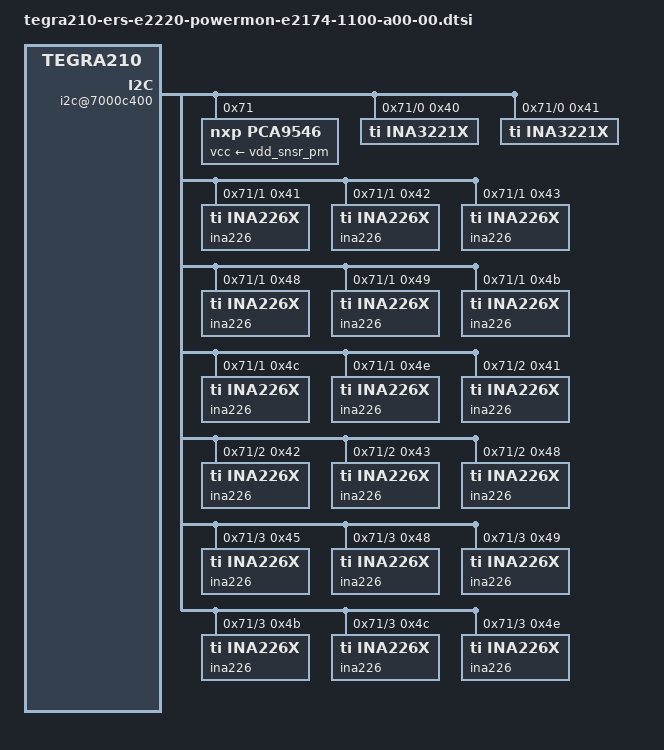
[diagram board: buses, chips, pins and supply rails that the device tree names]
/*
 * Copyright (c) 2014, NVIDIA CORPORATION.  All rights reserved.
 *
 * This program is free software; you can redistribute it and/or modify
 * it under the terms of the GNU General Public License as published by
 * the Free Software Foundation; either version 2 of the License, or
 * (at your option) any later version.
 *
 * This program is distributed in the hope that it will be useful, but WITHOUT
 * ANY WARRANTY; without even the implied warranty of MERCHANTABILITY or
 * FITNESS FOR A PARTICULAR PURPOSE.  See the GNU General Public License for
 * more details.
 *
 * You should have received a copy of the GNU General Public License along
 * with this program; if not, write to the Free Software Foundation, Inc.,
 * 51 Franklin Street, Fifth Floor, Boston, MA  02110-1301, USA.
 */
/ {
	i2c@7000c400 {
		pca9546@71 {
			compatible = "nxp,pca9546";
			reg = <0x71>;
			#address-cells = <1>;
			#size-cells = <0>;
			vcc-supply = <&vdd_snsr_pm>;
			i2c@0 {
				reg = <0>;
				i2c-mux,deselect-on-exit;
				#address-cells = <1>;
				#size-cells = <0>;
				ina3221x@40 {
					compatible = "ti,ina3221x";
					reg = <0x40>;
					ti,trigger-config = <0x7003>;
					ti,continuous-config = <0x7c07>;
					#address-cells = <1>;
					#size-cells = <0>;
					channel@0 {
						reg = <0x0>;
						ti,rail-name = "VDD_BAT";
						ti,shunt-resistor-mohm = <5>;
					};

					channel@1 {
						reg = <0x1>;
						ti,rail-name = "VDD_5V0";
						ti,shunt-resistor-mohm = <20>;
					};

					channel@2 {
						reg = <0x2>;
						ti,rail-name = "VDD_SYS_MDM";
						ti,shunt-resistor-mohm = <1>;
					};
				};

				ina3221x@41 {
					compatible = "ti,ina3221x";
					reg = <0x41>;
					ti,trigger-config = <0x7003>;
					ti,continuous-config = <0x7c07>;
					#address-cells = <1>;
					#size-cells = <0>;
					channel@0 {
						reg = <0x0>;
						ti,rail-name = "VDD_GPU";
						ti,shunt-resistor-mohm = <1>;
					};

					channel@1 {
						reg = <0x1>;
						ti,rail-name = "VDD_SOC";
						ti,shunt-resistor-mohm = <1>;
					};

					channel@2 {
						reg = <0x2>;
						ti,rail-name = "VDD_CPU";
						ti,shunt-resistor-mohm = <1>;
					};
				};
			};

			i2c@1 {
				reg = <1>;
				i2c-mux,deselect-on-exit;
				#address-cells = <1>;
				#size-cells = <0>;

				ina226@41 {
					compatible = "ti,ina226x";
					reg = <0x41>;
					ti,rail-name = "VDD_BAT_CHG";
					ti,continuous-config = <0x0407>;
					ti,trigger-config = <0x0403>;
					ti,resistor = <5>;
					ti,calibration-data = <0x0BEA>;
					ti,power-lsb = <8393>;
					ti,divisor = <25>;
					ti,precision-multiplier = <1000>;
				};
				ina226@42 {
					compatible = "ti,ina226x";
					reg = <0x42>;
					ti,rail-name = "VDD_SYS_CPU_OVR";
					ti,continuous-config = <0x0407>;
					ti,trigger-config = <0x0403>;
					ti,resistor = <5>;
					ti,calibration-data = <0x1097>;
					ti,power-lsb = <6027>;
					ti,divisor = <25>;
					ti,precision-multiplier = <1000>;
				};
				ina226@43 {
					compatible = "ti,ina226x";
					reg = <0x43>;
					ti,rail-name = "VDD_SYS_GPU_OVR";
					ti,continuous-config = <0x0407>;
					ti,trigger-config = <0x0403>;
					ti,resistor = <5>;
					ti,calibration-data = <0x1097>;
					ti,power-lsb = <6027>;
					ti,divisor = <25>;
					ti,precision-multiplier = <1000>;
				};
				ina226@48 {
					compatible = "ti,ina226x";
					reg = <0x48>;
					ti,rail-name = "VDD_SYS_SD0";
					ti,continuous-config = <0x0407>;
					ti,trigger-config = <0x0403>;
					ti,resistor = <5>;
					ti,calibration-data = <0x374D>;
					ti,power-lsb = <1808>;
					ti,divisor = <25>;
					ti,precision-multiplier = <1000>;
				};
				ina226@49 {
					compatible = "ti,ina226x";
					reg = <0x49>;
					ti,rail-name = "VDD_SYS_SD1";
					ti,continuous-config = <0x0407>;
					ti,trigger-config = <0x0403>;
					ti,resistor = <5>;
					ti,calibration-data = <0x7FFF>;
					ti,power-lsb = <781>;
					ti,divisor = <25>;
					ti,precision-multiplier = <1000>;
				};
				ina226@4b {
					compatible = "ti,ina226x";
					reg = <0x4B>;
					ti,rail-name = "VDD_SYS_MDM1";
					ti,continuous-config = <0x0407>;
					ti,trigger-config = <0x0403>;
					ti,resistor = <1>;
					ti,calibration-data = <0x7FFF>;
					ti,power-lsb = <3906>;
					ti,divisor = <25>;
					ti,precision-multiplier = <1000>;
				};
				ina226@4c {
					compatible = "ti,ina226x";
					reg = <0x4C>;
					ti,rail-name = "VDD_SYS_BL_1S";
					ti,continuous-config = <0x0407>;
					ti,trigger-config = <0x0403>;
					ti,resistor = <10>;
					ti,calibration-data = <0x7FFF>;
					ti,power-lsb = <390>;
					ti,divisor = <25>;
					ti,precision-multiplier = <1000>;
				};
				ina226@4e {
					compatible = "ti,ina226x";
					reg = <0x4E>;
					ti,rail-name = "VDD_SYS_COM";
					ti,continuous-config = <0x0407>;
					ti,trigger-config = <0x0403>;
					ti,resistor = <100>;
					ti,calibration-data = <0x0BEA>;
					ti,power-lsb = <419>;
					ti,divisor = <25>;
					ti,precision-multiplier = <1000>;

				};
			};

			i2c@2 {
				reg = <2>;
				i2c-mux,deselect-on-exit;
				#address-cells = <1>;
				#size-cells = <0>;
				ina226@41 {
					compatible = "ti,ina226x";
					reg = <0x41>;
					ti,rail-name = "VDD_RTC_AP";
					ti,continuous-config = <0x0407>;
					ti,trigger-config = <0x0403>;
					ti,resistor = <100>;
					ti,calibration-data = <0x7FFF>;
					ti,power-lsb = <39>;
					ti,divisor = <25>;
					ti,precision-multiplier = <1000>;
				};
				ina226@42 {
					compatible = "ti,ina226x";
					reg = <0x42>;
					ti,rail-name = "VDD_GEN_PLL_EDP_1V05";
					ti,continuous-config = <0x0407>;
					ti,trigger-config = <0x0403>;
					ti,resistor = <50>;
					ti,calibration-data = <0x1D20>;
					ti,power-lsb = <343>;
					ti,divisor = <25>;
					ti,precision-multiplier = <1000>;
				};
				ina226@43 {
					compatible = "ti,ina226x";
					reg = <0x43>;
					ti,rail-name = "VDD_DIS_3V3_LCD";
					ti,continuous-config = <0x0407>;
					ti,trigger-config = <0x0403>;
					ti,resistor = <10>;
					ti,calibration-data = <0x7FFF>;
					ti,power-lsb = <390>;
					ti,divisor = <25>;
					ti,precision-multiplier = <1000>;
				};
				ina226@48 {
					compatible = "ti,ina226x";
					reg = <0x48>;
					ti,rail-name = "VDD_LCD_1V8_DIS";
					ti,continuous-config = <0x0407>;
					ti,trigger-config = <0x0403>;
					ti,resistor = <100>;
					ti,calibration-data = <0x7FFF>;
					ti,power-lsb = <39>;
					ti,divisor = <25>;
					ti,precision-multiplier = <1000>;
				};
			};

			i2c@3 {
				reg = <3>;
				i2c-mux,deselect-on-exit;
				#address-cells = <1>;
				#size-cells = <0>;

				ina226@45 {
					compatible = "ti,ina226x";
					reg = <0x45>;
					ti,rail-name = "VDD_DDR";
					ti,continuous-config = <0x0407>;
					ti,trigger-config = <0x0403>;
					ti,calibration-data = <0x7FFF>;
					ti,resistor = <1>;
					ti,power-lsb = <3906>;
					ti,divisor = <25>;
					ti,precision-multiplier = <10000>;
				};
				ina226@48 {
					compatible = "ti,ina226x";
					reg = <0x48>;
					ti,rail-name = "VDD_GPU_AP";
					ti,continuous-config = <0x0407>;
					ti,trigger-config = <0x0403>;
					ti,calibration-data = <0x20C4>;
					ti,resistor = <1>;
					ti,power-lsb = <15259>;
					ti,divisor = <25>;
					ti,precision-multiplier = <10000>;
				};
				ina226@49 {
					compatible = "ti,ina226x";
					reg = <0x49>;
					ti,rail-name = "VDD_SOC_AP";
					ti,continuous-config = <0x0407>;
					ti,trigger-config = <0x0403>;
					ti,resistor = <1>;
					ti,calibration-data = <0x6D39>;
					ti,power-lsb = <4577>;
					ti,divisor = <25>;
					ti,precision-multiplier = <1000>;
				};
				ina226@4b {
					compatible = "ti,ina226x";
					reg = <0x4b>;
					ti,rail-name = "VDD_CPU_AP";
					ti,continuous-config = <0x0407>;
					ti,trigger-config = <0x0403>;
					ti,calibration-data = <0x20C4>;
					ti,resistor = <1>;
					ti,power-lsb = <15259>;
					ti,divisor = <25>;
					ti,precision-multiplier = <10000>;
				};
				ina226@4c {
					compatible = "ti,ina226x";
					reg = <0x4c>;
					ti,rail-name = "VDD_PMU_1V8";
					ti,continuous-config = <0x0407>;
					ti,trigger-config = <0x0403>;
					ti,resistor = <5>;
					ti,calibration-data = <0x4188>;
					ti,power-lsb = <1525>;
					ti,divisor = <25>;
					ti,precision-multiplier = <1000>;
				};
				ina226@4e {
					compatible = "ti,ina226x";
					reg = <0x4e>;
					ti,rail-name = "AVDD_1V05_GEN_PLL";
					ti,continuous-config = <0x0407>;
					ti,trigger-config = <0x0403>;
					ti,resistor = <30>;
					ti,calibration-data = <0x7FFF>;
					ti,power-lsb = <130>;
					ti,divisor = <25>;
					ti,precision-multiplier = <1000>;
				};
			};
		};
	};
};
